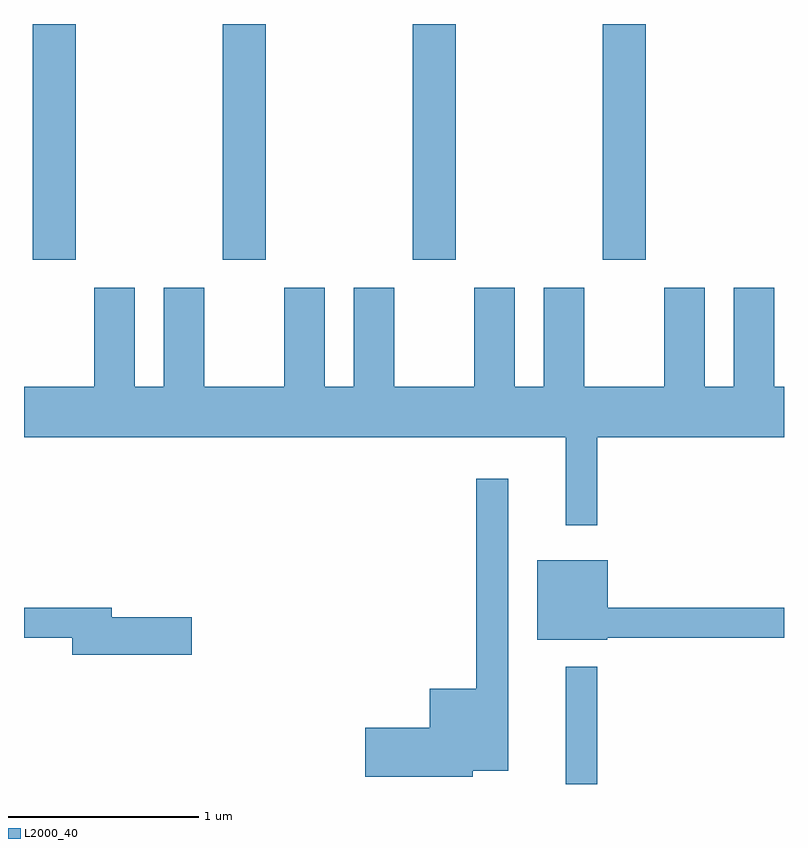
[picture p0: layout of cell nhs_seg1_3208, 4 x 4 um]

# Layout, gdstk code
import gdstk
lib = gdstk.Library(unit=1e-6, precision=1e-09)
def R(c, l, rs):  # rectangles x0, y0, x1, y1
    for r in rs: c.add(gdstk.rectangle(r[:2], r[2:], *l))
def A(c, l, x, y, w, h, nx, ny, dx, dy):  # array of equal rectangles
    R(c, l, [(x+i*dx, y+j*dy, x+i*dx+w, y+j*dy+h) for i in range(nx) for j in range(ny)])
def P(c, l, *ps):  # polygons
    for p in ps: c.add(gdstk.Polygon(p, *l))
L2000_40 = (2000, 40)

nhs_seg1_3208 = lib.new_cell('nhs_seg1_3208')
A(nhs_seg1_3208, L2000_40, 281.656, 940.471, 0.228, 1.241, 4, 1, 1, 0)
R(nhs_seg1_3208, L2000_40, [(284.461,937.712,284.629,938.328)])
P(nhs_seg1_3208, L2000_40, [(284.629,939.536),(285.611,939.536),(285.611,939.804),(285.559,939.804),(285.559,940.324),(285.346,940.324),(285.346,939.804),(285.194,939.804),(285.194,940.324),(284.981,940.324),(284.981,939.804),(284.559,939.804),(284.559,940.324),(284.346,940.324),(284.346,939.804),(284.194,939.804),(284.194,940.324),(283.981,940.324),(283.981,939.804),(283.559,939.804),(283.559,940.324),(283.346,940.324),(283.346,939.804),(283.194,939.804),(283.194,940.324),(282.981,940.324),(282.981,939.804),(282.559,939.804),(282.559,940.324),(282.346,940.324),(282.346,939.804),(282.194,939.804),(282.194,940.324),(281.981,940.324),(281.981,939.804),(281.611,939.804),(281.611,939.536),(284.461,939.536),(284.461,939.073),(284.629,939.073)],
  [(283.974,937.781),(284.159,937.781),(284.159,939.318),(283.991,939.318),(283.991,938.214),(283.746,938.214),(283.746,938.009),(283.406,938.009),(283.406,937.751),(283.974,937.751)],
  [(284.68,938.481),(285.611,938.481),(285.611,938.639),(284.684,938.639),(284.684,938.889),(284.311,938.889),(284.311,938.471),(284.68,938.471)],
  [(282.494,938.589),(282.074,938.589),(282.074,938.639),(281.611,938.639),(281.611,938.481),(281.866,938.481),(281.866,938.391),(282.494,938.391)])

lib.write_gds('nhs_seg1_3208.gds')
